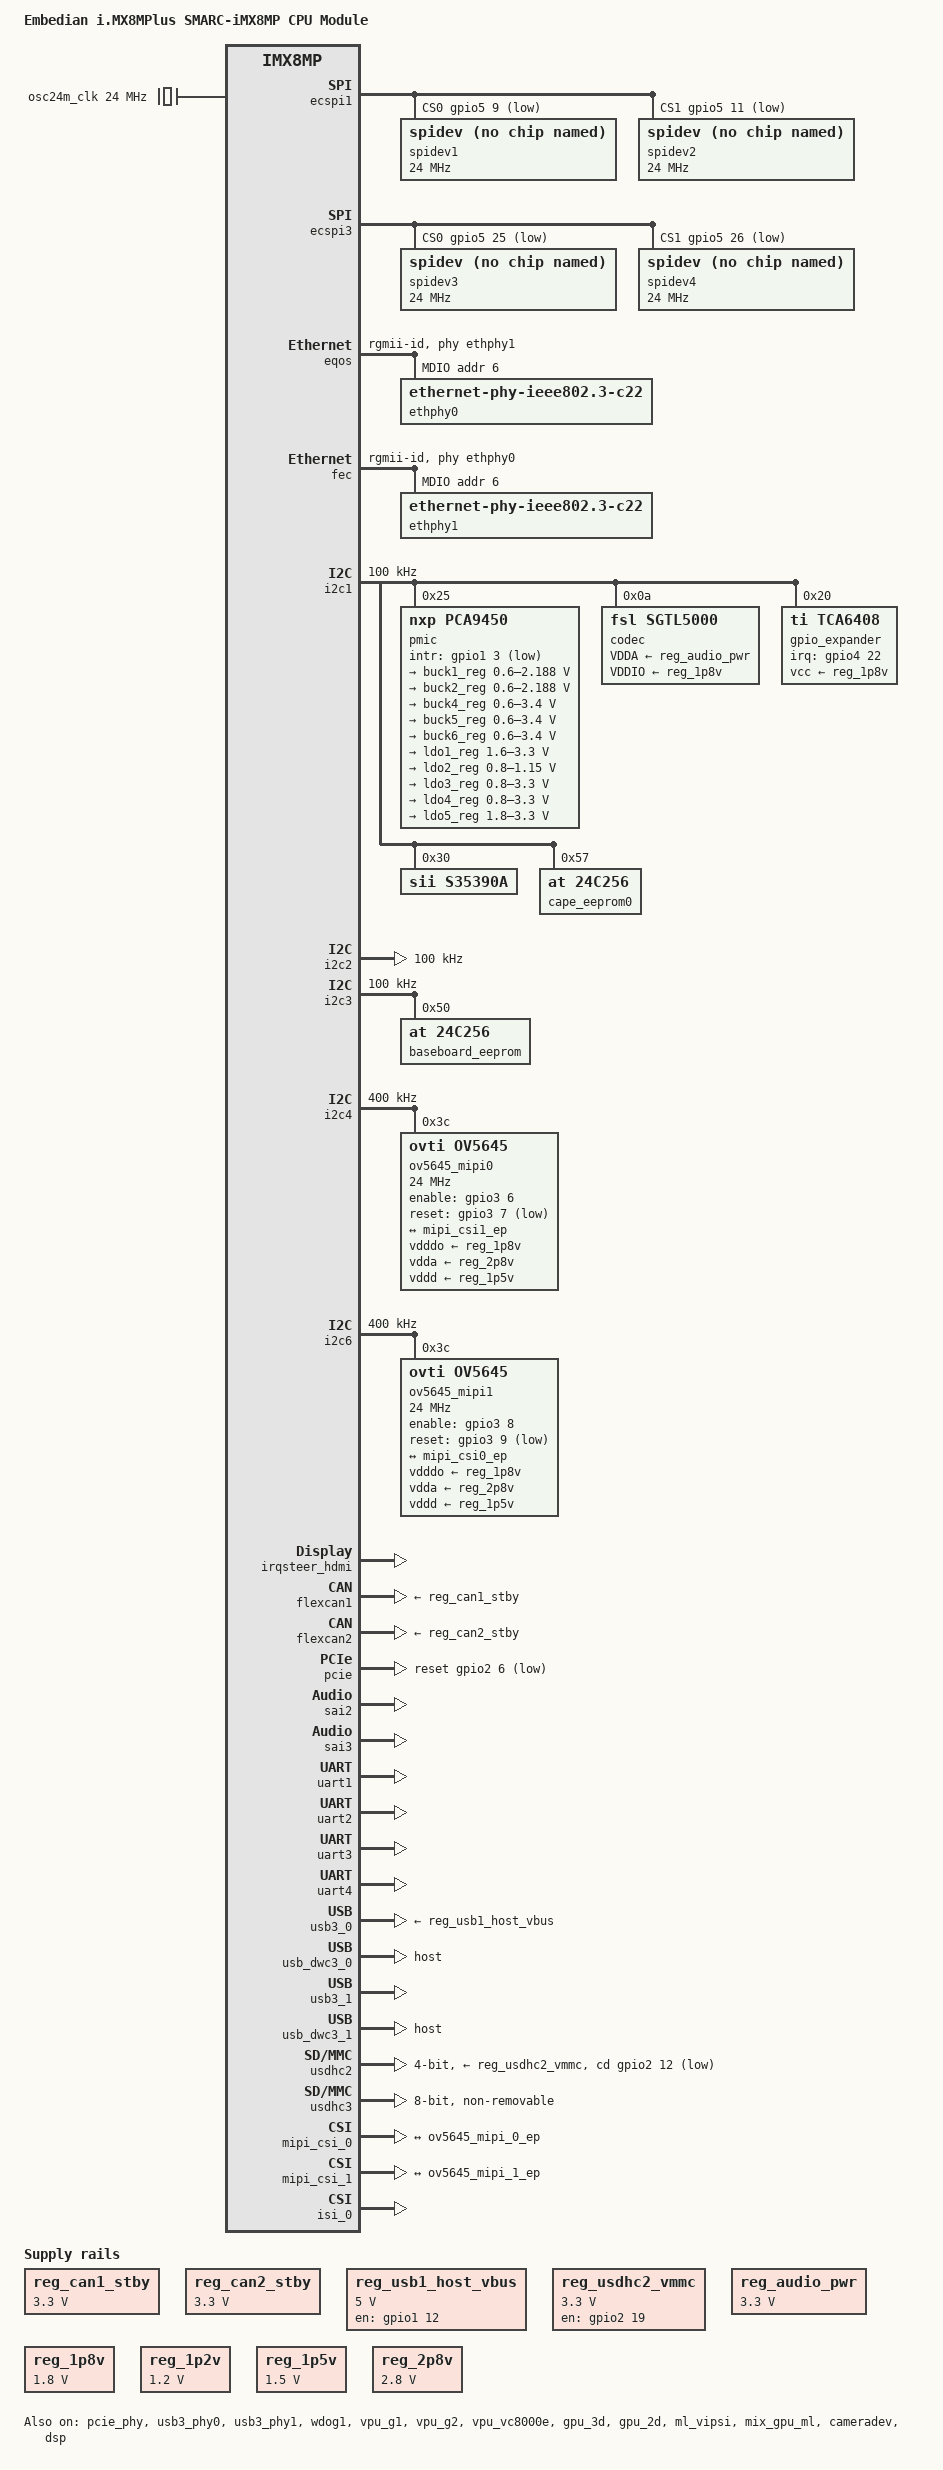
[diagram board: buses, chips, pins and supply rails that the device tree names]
// SPDX-License-Identifier: (GPL-2.0+ OR MIT)
/*
 * Copyright 2019 NXP
 * Copyright 2021 Embedian, Inc.
 */

/dts-v1/;

#include <dt-bindings/usb/pd.h>
#include "../freescale/imx8mp.dtsi"

/ {
	model = "Embedian i.MX8MPlus SMARC-iMX8MP CPU Module";
	compatible = "embedian,imx8mp-smarc", "fsl,imx8mp";

	reserved-memory {
		#address-cells = <2>;
		#size-cells = <2>;
		ranges;

		rpmsg_reserved: rpmsg@0x55800000 {
			no-map;
			reg = <0 0x55800000 0 0x800000>;
		};
	};

	aliases {
		rtc0 = &s35390a;
		rtc1 = &snvs_rtc;
	};

	reg_can1_stby: regulator-can1-stby {
		compatible = "regulator-fixed";
		regulator-name = "can1-stby";
		regulator-min-microvolt = <3300000>;
		regulator-max-microvolt = <3300000>;
	};

	reg_can2_stby: regulator-can2-stby {
		compatible = "regulator-fixed";
		regulator-name = "can2-stby";
		regulator-min-microvolt = <3300000>;
		regulator-max-microvolt = <3300000>;
	};

	reg_usb1_host_vbus: regulator-usb1-vbus {
		compatible = "regulator-fixed";
		regulator-name = "usb1_host_vbus";
		pinctrl-names = "default";
		pinctrl-0 = <&pinctrl_usb1_vbus>;
		regulator-min-microvolt = <5000000>;
		regulator-max-microvolt = <5000000>;
		gpio = <&gpio1 12 GPIO_ACTIVE_HIGH>;
		enable-active-high;
		regulator-always-on;
	};

	reg_usdhc2_vmmc: regulator-usdhc2 {
		compatible = "regulator-fixed";
		regulator-name = "VSD_3V3";
		regulator-min-microvolt = <3300000>;
		regulator-max-microvolt = <3300000>;
		gpio = <&gpio2 19 GPIO_ACTIVE_HIGH>;
		enable-active-high;
		startup-delay-us = <100>;
		off-on-delay-us = <12000>;
	};

	reg_audio_pwr: regulator-audio-pwr {
		compatible = "regulator-fixed";
		regulator-name = "sgtl5000-pwr";
		regulator-min-microvolt = <3300000>;
		regulator-max-microvolt = <3300000>;
		regulator-always-on;
	};

	reg_1p8v: 1p8v {
		compatible = "regulator-fixed";
		regulator-name = "1P8V";
		regulator-min-microvolt = <1800000>;
		regulator-max-microvolt = <1800000>;
		regulator-always-on;
	};

	reg_1p2v: 1p2v {
		compatible = "regulator-fixed";
		regulator-name = "1P2V";
		regulator-min-microvolt = <1200000>;
		regulator-max-microvolt = <1200000>;
		regulator-always-on;
	};

	reg_1p5v: 1p5v {
		compatible = "regulator-fixed";
		regulator-name = "1P5V";
		regulator-min-microvolt = <1500000>;
		regulator-max-microvolt = <1500000>;
		regulator-always-on;
	};

	reg_2p8v: 2p8v {
		compatible = "regulator-fixed";
		regulator-name = "2P8V";
		regulator-min-microvolt = <2800000>;
		regulator-max-microvolt = <2800000>;
		regulator-always-on;
	};

	osc24m_clk: osc24m_clk {
		compatible = "fixed-clock";
		#clock-cells = <0>;
		clock-frequency = <24000000>;
	};

	sound-hdmi {
		compatible = "fsl,imx-audio-cdnhdmi";
		model = "audio-hdmi";
		audio-cpu = <&aud2htx>;
		hdmi-out;
		constraint-rate = <44100>,
				<88200>,
				<176400>,
				<32000>,
				<48000>,
				<96000>,
				<192000>;
		status = "disabled";
	};

	sound-sgtl5000 {
		compatible = "simple-audio-card";
		simple-audio-card,name = "sgtl5000-audio";
		simple-audio-card,format = "i2s";
		simple-audio-card,widgets =
			"Microphone", "Microphone Jack",
			"Headphone", "Headphone Jack",
			"Speaker", "Speaker Ext",
			"Line", "Line In Jack";
		simple-audio-card,routing =
			"MIC_IN", "Microphone Jack",
			"Microphone Jack", "Mic Bias",
			"LINE_IN", "Line In Jack",
			"Headphone Jack", "HP_OUT",
			"Speaker Ext", "LINE_OUT";

		simple-audio-card,cpu {
			sound-dai = <&sai2>;
			frame-master;
			bitclock-master;
		};

		simple-audio-card,codec {
			sound-dai = <&codec>;
			frame-master;
			bitclock-master;
		};
	};
};

&aud2htx {
	status = "disabled";
};

&clk {
	init-on-array = <IMX8MP_CLK_HSIO_ROOT>;
};

&A53_0 {
	cpu-supply = <&buck2_reg>;
};

&pwm2 {
	pinctrl-names = "default";
	pinctrl-0 = <&pinctrl_pwm2>;
	status = "disabled";
};

&pwm4 {
	pinctrl-names = "default";
	pinctrl-0 = <&pinctrl_pwm4>;
	status = "disabled";
};

/* SPI0 */
&ecspi1 {
	#address-cells = <1>;
	#size-cells = <0>;
	fsl,spi-num-chipselects = <2>;
	pinctrl-names = "default";
	pinctrl-0 = <&pinctrl_ecspi1 &pinctrl_ecspi1_cs>;
	cs-gpios = <&gpio5 9 GPIO_ACTIVE_LOW>, <&gpio5 11 GPIO_ACTIVE_LOW>;
	status = "okay";

	spidev1: spidev@0 {
		reg = <0>;
		compatible = "rohm,dh2228fv";
		spi-max-frequency = <24000000>;
	};

	spidev2: spidev@1 {
		reg = <1>;
		compatible = "rohm,dh2228fv";
		spi-max-frequency = <24000000>;
	};
};

/* SPI1 */
&ecspi3 {
	#address-cells = <1>;
	#size-cells = <0>;
	fsl,spi-num-chipselects = <2>;
	pinctrl-names = "default";
	pinctrl-0 = <&pinctrl_ecspi3 &pinctrl_ecspi3_cs>;
	cs-gpios = <&gpio5 25 GPIO_ACTIVE_LOW>, <&gpio5 26 GPIO_ACTIVE_LOW>;
	status = "okay";

	spidev3: spidev@0 {
		reg = <0>;
		compatible = "rohm,dh2228fv";
		spi-max-frequency = <24000000>;
	};

	spidev4: spidev@1 {
		reg = <1>;
		compatible = "rohm,dh2228fv";
		spi-max-frequency = <24000000>;
	};
};

&eqos {
	pinctrl-names = "default";
	pinctrl-0 = <&pinctrl_eqos>;
	phy-mode = "rgmii-id";
	phy-handle = <&ethphy1>;
	status = "okay";

	mdio {
		compatible = "snps,dwmac-mdio";
		#address-cells = <1>;
		#size-cells = <0>;

		ethphy0: ethernet-phy@6 {
			compatible = "ethernet-phy-ieee802.3-c22";
			reg = <6>;
			eee-broken-1000t;
		};
	};
};

&fec {
	pinctrl-names = "default";
	pinctrl-0 = <&pinctrl_fec>;
	phy-mode = "rgmii-id";
	phy-handle = <&ethphy0>;
	fsl,magic-packet;
	status = "okay";

	mdio {
		#address-cells = <1>;
		#size-cells = <0>;

		ethphy1: ethernet-phy@6 {
			compatible = "ethernet-phy-ieee802.3-c22";
			reg = <6>;
			eee-broken-1000t;
		};
	};
};

/* I2C PM */
&i2c1 {
	clock-frequency = <100000>;
	pinctrl-names = "default";
	pinctrl-0 = <&pinctrl_i2c1>;
	status = "okay";

	pmic: pca9450@25 {
		reg = <0x25>;
		compatible = "nxp,pca9450";
		/* PMIC PCA9450 PMIC_nINT GPIO1_IO3 */
		pinctrl-0 = <&pinctrl_pmic>;
		gpio_intr = <&gpio1 3 GPIO_ACTIVE_LOW>;

		regulators {
			#address-cells = <1>;
			#size-cells = <0>;

			pca9450,pmic-buck2-uses-i2c-dvs;
			/* Run/Standby voltage */
			pca9450,pmic-buck2-dvs-voltage = <950000>, <850000>;

			buck1_reg: regulator@0 {
				reg = <0>;
				regulator-compatible = "buck1";
				regulator-min-microvolt = <600000>;
				regulator-max-microvolt = <2187500>;
				regulator-boot-on;
				regulator-always-on;
				regulator-ramp-delay = <3125>;
			};

			buck2_reg: regulator@1 {
				reg = <1>;
				regulator-compatible = "buck2";
				regulator-min-microvolt = <600000>;
				regulator-max-microvolt = <2187500>;
				regulator-boot-on;
				regulator-always-on;
				regulator-ramp-delay = <3125>;
			};

			buck4_reg: regulator@3 {
				reg = <3>;
				regulator-compatible = "buck4";
				regulator-min-microvolt = <600000>;
				regulator-max-microvolt = <3400000>;
				regulator-boot-on;
				regulator-always-on;
			};

			buck5_reg: regulator@4 {
				reg = <4>;
				regulator-compatible = "buck5";
				regulator-min-microvolt = <600000>;
				regulator-max-microvolt = <3400000>;
				regulator-boot-on;
				regulator-always-on;
			};

			buck6_reg: regulator@5 {
				reg = <5>;
				regulator-compatible = "buck6";
				regulator-min-microvolt = <600000>;
				regulator-max-microvolt = <3400000>;
				regulator-boot-on;
				regulator-always-on;
			};

			ldo1_reg: regulator@6 {
				reg = <6>;
				regulator-compatible = "ldo1";
				regulator-min-microvolt = <1600000>;
				regulator-max-microvolt = <3300000>;
				regulator-boot-on;
				regulator-always-on;
			};

			ldo2_reg: regulator@7 {
				reg = <7>;
				regulator-compatible = "ldo2";
				regulator-min-microvolt = <800000>;
				regulator-max-microvolt = <1150000>;
				regulator-boot-on;
				regulator-always-on;
			};

			ldo3_reg: regulator@8 {
				reg = <8>;
				regulator-compatible = "ldo3";
				regulator-min-microvolt = <800000>;
				regulator-max-microvolt = <3300000>;
				regulator-boot-on;
				regulator-always-on;
			};

			ldo4_reg: regulator@9 {
				reg = <9>;
				regulator-compatible = "ldo4";
				regulator-min-microvolt = <800000>;
				regulator-max-microvolt = <3300000>;
				regulator-boot-on;
				regulator-always-on;
			};

			ldo5_reg: regulator@10 {
				reg = <10>;
				regulator-compatible = "ldo5";
				regulator-min-microvolt = <1800000>;
				regulator-max-microvolt = <3300000>;
			};
		};
	};

	codec: sgtl5000@a {
		compatible = "fsl,sgtl5000";
		reg = <0x0a>;
		clocks = <&audiomix_clk IMX8MP_CLK_AUDIOMIX_SAI2_MCLK1>;		clock-names = "mclk";
		VDDA-supply = <&reg_audio_pwr>;
		VDDIO-supply = <&reg_1p8v>;
		#sound-dai-cells = <0>;
		status = "okay";
	};

	/*
	 * TCA6408 GPIO expander
	 *  0-LID#
	 *  1-SLEEP#
	 *  2-CHARGING#
	 *  3-BATLOW#
	 *  4-CHARGER_PRSNT#
	 *  5-
	 *  6-
	 *  7-
	*/
	gpio_expander: gpio-expander@20 {
		compatible = "ti,tca6408";
		reg = <0x20>;
		gpio-controller;
		vcc-supply = <&reg_1p8v>;
		#gpio-cells = <2>;
		interrupt-controller;
		#interrupt-cells = <2>;
		interrupt-parent = <&gpio4>;
		interrupts = <22 IRQ_TYPE_LEVEL_LOW>;

		lid_hog {
			gpio-hog;
			gpios = <0 GPIO_ACTIVE_LOW>;
			input;
			line-name = "lid";
		};
		sleep_hog {
			gpio-hog;
			gpios = <1 GPIO_ACTIVE_LOW>;
			input;
			line-name = "sleep";
		};
		charging_hog {
			gpio-hog;
			gpios = <2 GPIO_ACTIVE_LOW>;
			input;
			line-name = "charging";
		};
		batlow_hog {
			gpio-hog;
			gpios = <3 GPIO_ACTIVE_LOW>;
			input;
			line-name = "batlow";
		};
		charger_prsnt_hog {
			gpio-hog;
			gpios = <4 GPIO_ACTIVE_LOW>;
			input;
			line-name = "charger_prsnt";
		};
	};

	s35390a: s35390a@30 {
		compatible = "sii,s35390a";
		reg = <0x30>;
	};

	cape_eeprom0: cape_eeprom@57 {
		compatible = "at,24c256";
		reg = <0x57>;
	};
};

/* I2C_LCD */
&i2c2 {
	clock-frequency = <100000>;
	pinctrl-names = "default";
	pinctrl-0 = <&pinctrl_i2c2>;
	status = "okay";

};

/* I2C_GP */
&i2c3 {
	clock-frequency = <100000>;
	pinctrl-names = "default";
	pinctrl-0 = <&pinctrl_i2c3>;
	status = "okay";

	baseboard_eeprom: baseboard_eeprom@50 {
		compatible = "at,24c256";
		reg = <0x50>;
	};
};

&i2c4 {
	clock-frequency = <400000>;
	pinctrl-names = "default";
	pinctrl-0 = <&pinctrl_i2c4>;
	status = "okay";

	ov5645_mipi0: ov5645_mipi@3c {
		compatible = "ovti,ov5645";
		reg = <0x3c>;
		clock-names = "xclk";
/* Disabled CLKO1, since SMARC-iMX8MP camera moduleion board uses
 * its own oscillator. Enable CLK01 if your desing requres it
 */
		/*pinctrl-names = "default";
		pinctrl-0 = <&pinctrl_csi_mclk>;
		clocks = <&clk IMX8MP_CLK_IPP_DO_CLKO2>;
		assigned-clocks = <&clk IMX8MP_CLK_IPP_DO_CLKO2>;
		assigned-clock-parents = <&clk IMX8MP_CLK_24M>;
		assigned-clock-rates = <24000000>;*/
                clocks = <&osc24m_clk>;
		clock-frequency = <24000000>;
                vdddo-supply = <&reg_1p8v>;
                vdda-supply = <&reg_2p8v>;
                vddd-supply = <&reg_1p5v>;
		csi_id = <1>;
		enable-gpios = <&gpio3 6 GPIO_ACTIVE_HIGH>;	/* GPIO0 */
		reset-gpios = <&gpio3 7 GPIO_ACTIVE_LOW>;	/* GPIO1 */
		status = "okay";

		port {
			ov5645_mipi_1_ep: endpoint {
				remote-endpoint = <&mipi_csi1_ep>;
				data-lanes = <1 2>;
				clock-lanes = <0>;
			};
		};
	};
};

&i2c6 {
	clock-frequency = <400000>;
	pinctrl-names = "default";
	pinctrl-0 = <&pinctrl_i2c6>;
	status = "okay";

	ov5645_mipi1: ov5645_mipi@3c {
		compatible = "ovti,ov5645";
		reg = <0x3c>;
		clock-names = "xclk";
/* Disabled CLKO1, since SMARC-iMX8MP camera moduleion board uses
 * its own oscillator. Enable CLK01 if your desing requres it
 */
		/*pinctrl-names = "default";
		pinctrl-0 = <&pinctrl_csi_mclk>;
		clocks = <&clk IMX8MP_CLK_IPP_DO_CLKO2>;
		assigned-clocks = <&clk IMX8MP_CLK_IPP_DO_CLKO2>;
		assigned-clock-parents = <&clk IMX8MP_CLK_24M>;
		assigned-clock-rates = <24000000>;*/
		clocks = <&osc24m_clk>;
		clock-frequency = <24000000>;
		vdddo-supply = <&reg_1p8v>;
		vdda-supply = <&reg_2p8v>;
		vddd-supply = <&reg_1p5v>;
		csi_id = <0>;
		enable-gpios = <&gpio3 8 GPIO_ACTIVE_HIGH>;	/* GPIO2 */
		reset-gpios = <&gpio3 9 GPIO_ACTIVE_LOW>;	/* GPIO3 */
		status = "okay";

		port {
			ov5645_mipi_0_ep: endpoint {
				remote-endpoint = <&mipi_csi0_ep>;
				data-lanes = <1 2 3 4>;
				clock-lanes = <0>;
			};
		};
	};
};

&irqsteer_hdmi {
	status = "okay";
};

&flexcan1 {
	pinctrl-names = "default";
	pinctrl-0 = <&pinctrl_flexcan1>;
	xceiver-supply = <&reg_can1_stby>;
	status = "okay";
};

&flexcan2 {
	pinctrl-names = "default";
	pinctrl-0 = <&pinctrl_flexcan2>;
	xceiver-supply = <&reg_can2_stby>;
	status = "okay";
};

&hdmimix_clk {
	status = "disabled";
};

&hdmimix_reset {
	status = "disabled";
};

&hdmi_pavi {
	status = "disabled";
};

&hdmi {
	status = "disabled";
};

&hdmiphy {
	status = "disabled";
};

/* MIPI-DSI */
&lcdif1 {
	status = "disabled";
};

/* LVDS */
&lcdif2 {
	status = "disabled";
};

&lcdif3 {
	status = "disabled";

	thres-low  = <1 2>;             /* (FIFO * 1 / 2) */
	thres-high = <3 4>;             /* (FIFO * 3 / 4) */
};

&ldb {
	status = "disabled";

};

&ldb_phy {
	status = "disabled";
};

&mipi_dsi {
	status = "disabled";
};

&pcie{
	pinctrl-names = "default";
	pinctrl-0 = <&pinctrl_pcie>;
	reset-gpio = <&gpio2 6 GPIO_ACTIVE_LOW>;
	ext_osc = <1>;
	clocks = <&clk IMX8MP_CLK_HSIO_AXI_DIV>,
		 <&clk IMX8MP_CLK_PCIE_AUX>,
		 <&clk IMX8MP_CLK_PCIE_PHY>,
		 <&clk IMX8MP_CLK_PCIE_ROOT>;
	clock-names = "pcie", "pcie_aux", "pcie_phy", "pcie_bus";
	assigned-clocks = <&clk IMX8MP_CLK_HSIO_AXI_SRC>,
			  <&clk IMX8MP_CLK_PCIE_AUX>;
	assigned-clock-parents = <&clk IMX8MP_SYS_PLL2_500M>,
				 <&clk IMX8MP_SYS_PLL2_50M>;
	status = "okay";
};

&pcie_ep{
	pinctrl-names = "default";
	pinctrl-0 = <&pinctrl_pcie>;
	ext_osc = <1>;
	clocks = <&clk IMX8MP_CLK_HSIO_AXI_DIV>,
		 <&clk IMX8MP_CLK_PCIE_AUX>,
		 <&clk IMX8MP_CLK_PCIE_PHY>,
		 <&clk IMX8MP_CLK_PCIE_ROOT>;
	clock-names = "pcie", "pcie_aux", "pcie_phy", "pcie_bus";
	assigned-clocks = <&clk IMX8MP_CLK_HSIO_AXI_SRC>,
			  <&clk IMX8MP_CLK_PCIE_AUX>;
	assigned-clock-parents = <&clk IMX8MP_SYS_PLL2_500M>,
				 <&clk IMX8MP_SYS_PLL2_50M>;
	status = "disabled";
};

&pcie_phy{
	ext_osc = <1>;
	status = "okay";
};

&sai2 {
	#sound-dai-cells = <0>;
	pinctrl-names = "default";
	pinctrl-0 = <&pinctrl_sai2>;
	assigned-clocks = <&clk IMX8MP_CLK_SAI2>;
	assigned-clock-parents = <&clk IMX8MP_AUDIO_PLL1_OUT>;
	assigned-clock-rates = <24576000>;
	status = "okay";
};

&sai3 {
	pinctrl-names = "default";
	pinctrl-0 = <&pinctrl_sai3>;
	assigned-clocks = <&clk IMX8MP_CLK_SAI3>;
	assigned-clock-parents = <&clk IMX8MP_AUDIO_PLL1_OUT>;
	assigned-clock-rates = <24576000>;
	clocks = <&audiomix_clk IMX8MP_CLK_AUDIOMIX_SAI3_IPG>, <&clk IMX8MP_CLK_DUMMY>,
		 <&audiomix_clk IMX8MP_CLK_AUDIOMIX_SAI3_MCLK1>, <&clk IMX8MP_CLK_DUMMY>,
		 <&clk IMX8MP_CLK_DUMMY>;
	clock-names = "bus", "mclk0", "mclk1", "mclk2", "mclk3";
	fsl,sai-mclk-direction-output;
	status = "okay";
};

&sdma2 {
	status = "okay";
};

&uart1 { /* SER0 */
	pinctrl-names = "default";
	pinctrl-0 = <&pinctrl_uart1>;
	assigned-clocks = <&clk IMX8MP_CLK_UART1>;
	assigned-clock-parents = <&clk IMX8MP_SYS_PLL1_80M>;
	fsl,uart-has-rtscts;
	status = "okay";
};

&uart2 {
	/* console */
	pinctrl-names = "default";
	pinctrl-0 = <&pinctrl_uart2>;
	status = "okay";
};

&uart3 {
	/* SER2 */
	pinctrl-names = "default";
	pinctrl-0 = <&pinctrl_uart3>;
	assigned-clocks = <&clk IMX8MP_CLK_UART3>;
	assigned-clock-parents = <&clk IMX8MP_SYS_PLL1_80M>;
	fsl,uart-has-rtscts;
	status = "okay";
};

&uart4 {
	/* SER1 */
	pinctrl-names = "default";
	pinctrl-0 = <&pinctrl_uart4>;
	status = "okay";
};

&usb3_phy0 {
	fsl,phy-tx-vref-tune = <6>;
	fsl,phy-tx-rise-tune = <0>;
	fsl,phy-tx-preemp-amp-tune = <3>;
	fsl,phy-comp-dis-tune = <7>;
	fsl,pcs-tx-deemph-3p5db = <0x21>;
	fsl,phy-pcs-tx-swing-full = <0x7f>;
	status = "okay";
};

&usb3_0 {
	pinctrl-names = "default";
	pinctrl-0 = <&pinctrl_usbotg1>;
	vbus-supply = <&reg_usb1_host_vbus>;
	status = "okay";
};

&usb_dwc3_0 {
	dr_mode = "host";
	hnp-disable;
	srp-disable;
	adp-disable;
	usb-role-switch;
	status = "okay";
};

&usb3_phy1 {
	fsl,phy-tx-preemp-amp-tune = <2>;
	status = "okay";
};

&usb3_1 {
	status = "okay";
};

&usb_dwc3_1 {
	dr_mode = "host";
	status = "okay";
};

&usdhc2 {
	pinctrl-names = "default", "state_100mhz", "state_200mhz";
	pinctrl-0 = <&pinctrl_usdhc2>, <&pinctrl_usdhc2_gpio>;
	pinctrl-1 = <&pinctrl_usdhc2_100mhz>, <&pinctrl_usdhc2_gpio>;
	pinctrl-2 = <&pinctrl_usdhc2_200mhz>, <&pinctrl_usdhc2_gpio>;
	cd-gpios = <&gpio2 12 GPIO_ACTIVE_LOW>;
	vmmc-supply = <&reg_usdhc2_vmmc>;
	bus-width = <4>;
	status = "okay";
};

&usdhc3 {
	pinctrl-names = "default", "state_100mhz", "state_200mhz";
	pinctrl-0 = <&pinctrl_usdhc3>;
	pinctrl-1 = <&pinctrl_usdhc3_100mhz>;
	pinctrl-2 = <&pinctrl_usdhc3_200mhz>;
	bus-width = <8>;
	non-removable;
	status = "okay";
};

&wdog1 {
	pinctrl-names = "default";
	pinctrl-0 = <&pinctrl_wdog>;
	fsl,ext-reset-output;
	status = "okay";
};

&iomuxc {
	pinctrl-names = "default";
	pinctrl-0 = <&pinctrl_hog>;

	pinctrl_hog: hoggrp {
		fsl,pins = <
			MX8MP_IOMUXC_HDMI_DDC_SCL__HDMIMIX_HDMI_SCL	0x400001c3
			MX8MP_IOMUXC_HDMI_DDC_SDA__HDMIMIX_HDMI_SDA	0x400001c3
			MX8MP_IOMUXC_HDMI_HPD__HDMIMIX_HDMI_HPD		0x40000019
			MX8MP_IOMUXC_HDMI_CEC__HDMIMIX_HDMI_CEC		0x40000019
			MX8MP_IOMUXC_SAI3_RXFS__GPIO4_IO28		0x19	/* RESET_OUT# */
			MX8MP_IOMUXC_GPIO1_IO00__GPIO1_IO00		0x19	/* LCD0_BKLT_EN */
			MX8MP_IOMUXC_ECSPI2_SCLK__GPIO5_IO10		0x19	/* LCD1_BKLT_EN */
			MX8MP_IOMUXC_GPIO1_IO01__GPIO1_IO01		0x19	/* LCD0_VDD_EN */
			MX8MP_IOMUXC_GPIO1_IO11__GPIO1_IO11		0x19	/* LCD1_VDD_EN */
			MX8MP_IOMUXC_NAND_DATA00__GPIO3_IO06		0x19	/* GPIO0 */
			MX8MP_IOMUXC_NAND_DATA01__GPIO3_IO07		0x19	/* GPIO1 */
			MX8MP_IOMUXC_NAND_DATA02__GPIO3_IO08		0x19	/* GPIO2 */
			MX8MP_IOMUXC_NAND_DATA03__GPIO3_IO09		0x19	/* GPIO3 */
			MX8MP_IOMUXC_GPIO1_IO15__GPIO1_IO15		0x19	/* GPIO4 */
			MX8MP_IOMUXC_I2C4_SDA__GPIO5_IO21		0x19	/* GPIO5 */
			MX8MP_IOMUXC_SAI3_TXC__GPIO5_IO00		0x41	/* GPIO6 */
			MX8MP_IOMUXC_SAI3_TXD__GPIO5_IO01		0x41	/* GPIO7 */
			MX8MP_IOMUXC_SAI3_RXC__GPIO4_IO29		0x41	/* GPIO8 */
			MX8MP_IOMUXC_SPDIF_TX__GPIO5_IO03		0x41	/* GPIO9 */
			MX8MP_IOMUXC_SPDIF_RX__GPIO5_IO04		0x41	/* GPIO10 */
			MX8MP_IOMUXC_SPDIF_EXT_CLK__GPIO5_IO05		0x41	/* GPIO11 */
		>;
	};

	pinctrl_pwm1: pwm1grp {
		fsl,pins = <
			MX8MP_IOMUXC_GPIO1_IO01__PWM1_OUT	0x116
		>;
	};

	pinctrl_pwm2: pwm2grp {
		fsl,pins = <
			MX8MP_IOMUXC_SAI5_RXD0__PWM2_OUT	0x116
		>;
	};

	pinctrl_pwm4: pwm4grp {
		fsl,pins = <
			MX8MP_IOMUXC_SAI3_MCLK__PWM4_OUT	0x116
		>;
	};

	pinctrl_ecspi1: ecspi1grp {
		fsl,pins = <
			MX8MP_IOMUXC_ECSPI1_SCLK__ECSPI1_SCLK	0x82
			MX8MP_IOMUXC_ECSPI1_MOSI__ECSPI1_MOSI	0x82
			MX8MP_IOMUXC_ECSPI1_MISO__ECSPI1_MISO	0x82
		>;
	};

	pinctrl_ecspi1_cs: ecspi1cs {
		fsl,pins = <
			MX8MP_IOMUXC_ECSPI1_SS0__GPIO5_IO09	0x40000
			MX8MP_IOMUXC_ECSPI2_MOSI__GPIO5_IO11	0x40000
		>;
	};

	pinctrl_ecspi2: ecspi2grp {
		fsl,pins = <
			MX8MP_IOMUXC_ECSPI2_SCLK__ECSPI2_SCLK		0x82
			MX8MP_IOMUXC_ECSPI2_MOSI__ECSPI2_MOSI		0x82
			MX8MP_IOMUXC_ECSPI2_MISO__ECSPI2_MISO		0x82
		>;
	};

	pinctrl_ecspi2_cs: ecspi2cs {
		fsl,pins = <
			MX8MP_IOMUXC_ECSPI2_SS0__GPIO5_IO13		0x40000
		>;
	};

	pinctrl_ecspi3: ecspi3grp {
		fsl,pins = <
			MX8MP_IOMUXC_UART1_RXD__ECSPI3_SCLK	0x82
			MX8MP_IOMUXC_UART1_TXD__ECSPI3_MOSI	0x82
			MX8MP_IOMUXC_UART2_RXD__ECSPI3_MISO	0x82
		>;
	};

	pinctrl_ecspi3_cs: ecspi3cs {
		fsl,pins = <
			MX8MP_IOMUXC_UART2_TXD__GPIO5_IO25	0x40000
			MX8MP_IOMUXC_UART3_RXD__GPIO5_IO26	0x40000
		>;
	};

	pinctrl_eqos: eqosgrp {
		fsl,pins = <
			MX8MP_IOMUXC_ENET_MDC__ENET_QOS_MDC	0x3
			MX8MP_IOMUXC_ENET_MDIO__ENET_QOS_MDIO	0x3
			MX8MP_IOMUXC_ENET_RD0__ENET_QOS_RGMII_RD0	0x91
			MX8MP_IOMUXC_ENET_RD1__ENET_QOS_RGMII_RD1	0x91
			MX8MP_IOMUXC_ENET_RD2__ENET_QOS_RGMII_RD2	0x91
			MX8MP_IOMUXC_ENET_RD3__ENET_QOS_RGMII_RD3	0x91
			MX8MP_IOMUXC_ENET_RXC__CCM_ENET_QOS_CLOCK_GENERATE_RX_CLK	0x91
			MX8MP_IOMUXC_ENET_RX_CTL__ENET_QOS_RGMII_RX_CTL	0x91
			MX8MP_IOMUXC_ENET_TD0__ENET_QOS_RGMII_TD0		0x1f
			MX8MP_IOMUXC_ENET_TD1__ENET_QOS_RGMII_TD1		0x1f
			MX8MP_IOMUXC_ENET_TD2__ENET_QOS_RGMII_TD2		0x1f
			MX8MP_IOMUXC_ENET_TD3__ENET_QOS_RGMII_TD3		0x1f
			MX8MP_IOMUXC_ENET_TX_CTL__ENET_QOS_RGMII_TX_CTL	0x1f
			MX8MP_IOMUXC_ENET_TXC__CCM_ENET_QOS_CLOCK_GENERATE_TX_CLK	0x1f
			MX8MP_IOMUXC_SAI2_RXFS__GPIO4_IO21		0x42
		>;
	};

	pinctrl_fec: fecgrp {
		fsl,pins = <
			MX8MP_IOMUXC_SAI1_RXD2__ENET1_MDC		0x3
			MX8MP_IOMUXC_SAI1_RXD3__ENET1_MDIO		0x3
			MX8MP_IOMUXC_SAI1_RXD4__ENET1_RGMII_RD0		0x91
			MX8MP_IOMUXC_SAI1_RXD5__ENET1_RGMII_RD1		0x91
			MX8MP_IOMUXC_SAI1_RXD6__ENET1_RGMII_RD2		0x91
			MX8MP_IOMUXC_SAI1_RXD7__ENET1_RGMII_RD3		0x91
			MX8MP_IOMUXC_SAI1_TXC__ENET1_RGMII_RXC		0x91
			MX8MP_IOMUXC_SAI1_TXFS__ENET1_RGMII_RX_CTL	0x91
			MX8MP_IOMUXC_SAI1_TXD0__ENET1_RGMII_TD0		0x1f
			MX8MP_IOMUXC_SAI1_TXD1__ENET1_RGMII_TD1		0x1f
			MX8MP_IOMUXC_SAI1_TXD2__ENET1_RGMII_TD2		0x1f
			MX8MP_IOMUXC_SAI1_TXD3__ENET1_RGMII_TD3		0x1f
			MX8MP_IOMUXC_SAI1_TXD4__ENET1_RGMII_TX_CTL	0x1f
			MX8MP_IOMUXC_SAI1_TXD5__ENET1_RGMII_TXC		0x1f
			MX8MP_IOMUXC_SAI1_RXD1__GPIO4_IO03		0x42
		>;
	};

	pinctrl_flexcan1: flexcan1grp {
		fsl,pins = <
			MX8MP_IOMUXC_SAI5_RXD2__CAN1_RX          0x154
			MX8MP_IOMUXC_SAI5_RXD1__CAN1_TX          0x154
		>;
	};

	pinctrl_flexcan2: flexcan2grp {
		fsl,pins = <
			MX8MP_IOMUXC_SAI5_MCLK__CAN2_RX		0x154
			MX8MP_IOMUXC_SAI5_RXD3__CAN2_TX		0x154
		>;
	};

	pinctrl_flexcan1_reg: flexcan1reggrp {
		fsl,pins = <
			MX8MP_IOMUXC_SPDIF_EXT_CLK__GPIO5_IO05	0x154	/* CAN1_STBY */
		>;
	};

	pinctrl_flexcan2_reg: flexcan2reggrp {
		fsl,pins = <
			MX8MP_IOMUXC_SAI2_MCLK__GPIO4_IO27	0x154	/* CAN2_STBY */
		>;
	};

	pinctrl_flexspi0: flexspi0grp {
		fsl,pins = <
			MX8MP_IOMUXC_NAND_ALE__FLEXSPI_A_SCLK		0x1c2
			MX8MP_IOMUXC_NAND_CE0_B__FLEXSPI_A_SS0_B	0x82
			MX8MP_IOMUXC_NAND_DATA00__FLEXSPI_A_DATA00	0x82
			MX8MP_IOMUXC_NAND_DATA01__FLEXSPI_A_DATA01	0x82
			MX8MP_IOMUXC_NAND_DATA02__FLEXSPI_A_DATA02	0x82
			MX8MP_IOMUXC_NAND_DATA03__FLEXSPI_A_DATA03	0x82
		>;
	};

	pinctrl_gpio_led: gpioledgrp {
		fsl,pins = <
			MX8MP_IOMUXC_NAND_READY_B__GPIO3_IO16	0x19
		>;
	};

	pinctrl_i2c1: i2c1grp {
		fsl,pins = <
			MX8MP_IOMUXC_I2C1_SCL__I2C1_SCL		0x400001c3
			MX8MP_IOMUXC_I2C1_SDA__I2C1_SDA		0x400001c3
		>;
	};

	pinctrl_i2c2: i2c2grp {
		fsl,pins = <
			MX8MP_IOMUXC_I2C2_SCL__I2C2_SCL			0x400001c3
			MX8MP_IOMUXC_I2C2_SDA__I2C2_SDA			0x400001c3
		>;
	};

	pinctrl_i2c3: i2c3grp {
		fsl,pins = <
			MX8MP_IOMUXC_I2C3_SCL__I2C3_SCL			0x400001c3
			MX8MP_IOMUXC_I2C3_SDA__I2C3_SDA			0x400001c3
		>;
	};

	pinctrl_i2c4: i2c4grp {
		fsl,pins = <
			MX8MP_IOMUXC_ECSPI2_MISO__I2C4_SCL	0x400001c3
			MX8MP_IOMUXC_ECSPI2_SS0__I2C4_SDA	0x400001c3
		>;
	};

	pinctrl_i2c6: i2c6grp {
		fsl,pins = <
			MX8MP_IOMUXC_SAI5_RXFS__I2C6_SCL	0x400001c3
			MX8MP_IOMUXC_SAI5_RXC__I2C6_SDA		0x400001c3
		>;
	};

	pinctrl_mipi_dsi_en: mipi_dsi_en {
		fsl,pins = <
			MX8MP_IOMUXC_GPIO1_IO08__GPIO1_IO08	0x16
		>;
	};

	pinctrl_pcie: pciegrp {
		fsl,pins = <
			MX8MP_IOMUXC_I2C4_SCL__PCIE_CLKREQ_B		0x61 /* open drain, pull up */
			MX8MP_IOMUXC_SD1_DATA4__GPIO2_IO06		0x41
			MX8MP_IOMUXC_SD1_DATA5__GPIO2_IO07		0x41
		>;
	};

	pinctrl_pmic: pmicirq {
		fsl,pins = <
			MX8MP_IOMUXC_GPIO1_IO03__GPIO1_IO03	0x41
		>;
	};

	pinctrl_typec: typec1grp {
		fsl,pins = <
			MX8MP_IOMUXC_SAI1_TXD7__GPIO4_IO19	0x1c4
		>;
	};

	pinctrl_typec_mux: typec1muxgrp {
		fsl,pins = <
			MX8MP_IOMUXC_SAI1_MCLK__GPIO4_IO20	0x16
		>;
	};

	pinctrl_pdm: pdmgrp {
		fsl,pins = <
			MX8MP_IOMUXC_SAI5_RXC__AUDIOMIX_PDM_CLK			0xd6
			MX8MP_IOMUXC_SAI5_RXD0__AUDIOMIX_PDM_BIT_STREAM00	0xd6
			MX8MP_IOMUXC_SAI5_RXD1__AUDIOMIX_PDM_BIT_STREAM01	0xd6
			MX8MP_IOMUXC_SAI5_RXD2__AUDIOMIX_PDM_BIT_STREAM02	0xd6
			MX8MP_IOMUXC_SAI5_RXD3__AUDIOMIX_PDM_BIT_STREAM03	0xd6
		>;
	};

	pinctrl_sai2: sai2grp {
		fsl,pins = <
			MX8MP_IOMUXC_SAI2_TXC__AUDIOMIX_SAI2_TX_BCLK	0xd6
			MX8MP_IOMUXC_SAI2_TXFS__AUDIOMIX_SAI2_TX_SYNC	0xd6
			MX8MP_IOMUXC_SAI2_TXD0__AUDIOMIX_SAI2_TX_DATA00	0xd6
			MX8MP_IOMUXC_SAI2_RXD0__AUDIOMIX_SAI2_RX_DATA00	0xd6
			MX8MP_IOMUXC_SAI2_MCLK__AUDIOMIX_SAI2_MCLK	0xd6
		>;
	};

	pinctrl_sai3: sai3grp {
		fsl,pins = <
			MX8MP_IOMUXC_SAI3_TXFS__AUDIOMIX_SAI3_TX_SYNC		0xd6
			MX8MP_IOMUXC_NAND_ALE__AUDIOMIX_SAI3_TX_BCLK		0xd6
			MX8MP_IOMUXC_SAI3_RXD__AUDIOMIX_SAI3_RX_DATA00		0xd6
			MX8MP_IOMUXC_NAND_CE0_B__AUDIOMIX_SAI3_TX_DATA00	0xd6
		>;
	};

	pinctrl_i2c2_synaptics_dsx_io: synaptics_dsx_iogrp {
		fsl,pins = <
			MX8MP_IOMUXC_GPIO1_IO09__GPIO1_IO09		0x16
		>;
	};

	pinctrl_uart1: uart1grp {
		fsl,pins = <
			MX8MP_IOMUXC_SD1_CMD__UART1_DCE_RX	0x140
			MX8MP_IOMUXC_SD1_CLK__UART1_DCE_TX	0x140
			MX8MP_IOMUXC_SD1_DATA1__UART1_DCE_CTS	0x140
			MX8MP_IOMUXC_SD1_DATA0__UART1_DCE_RTS	0x140
		>;
	};

	pinctrl_uart2: uart2grp {
		fsl,pins = <
			MX8MP_IOMUXC_SD1_DATA3__UART2_DCE_RX	0x49
			MX8MP_IOMUXC_SD1_DATA2__UART2_DCE_TX	0x49
		>;
	};

	pinctrl_uart3: uart3grp {
		fsl,pins = <
			MX8MP_IOMUXC_SD1_DATA7__UART3_DCE_RX	0x140
			MX8MP_IOMUXC_SD1_DATA6__UART3_DCE_TX	0x140
			MX8MP_IOMUXC_SD1_STROBE__UART3_DCE_CTS	0x140
			MX8MP_IOMUXC_SD1_RESET_B__UART3_DTE_CTS	0x140
		>;
	};

	pinctrl_uart4: uart4grp {
		fsl,pins = <
			MX8MP_IOMUXC_UART4_RXD__UART4_DCE_RX    0x49
			MX8MP_IOMUXC_UART4_TXD__UART4_DCE_TX    0x49
		>;
	};

	pinctrl_usb1_vbus: usb1grp {
		fsl,pins = <
			MX8MP_IOMUXC_GPIO1_IO12__GPIO1_IO12	0x19	/* USB1_EN */
		>;
	};

        pinctrl_usbotg1: usbotg1 {
                fsl,pins = <
                        MX8MP_IOMUXC_GPIO1_IO10__USB1_ID	0x41	/* USB1_ID */
			MX8MP_IOMUXC_GPIO1_IO13__GPIO1_IO13	0x41	/* USB1_OC# */
		>;
	};

	pinctrl_usdhc1: usdhc1grp {
		fsl,pins = <
			MX8MP_IOMUXC_SD1_CLK__USDHC1_CLK	0x190
			MX8MP_IOMUXC_SD1_CMD__USDHC1_CMD	0x1d0
			MX8MP_IOMUXC_SD1_DATA0__USDHC1_DATA0	0x1d0
			MX8MP_IOMUXC_SD1_DATA1__USDHC1_DATA1	0x1d0
			MX8MP_IOMUXC_SD1_DATA2__USDHC1_DATA2	0x1d0
			MX8MP_IOMUXC_SD1_DATA3__USDHC1_DATA3	0x1d0
		>;
	};

	pinctrl_usdhc1_100mhz: usdhc1grp-100mhz {
		fsl,pins = <
			MX8MP_IOMUXC_SD1_CLK__USDHC1_CLK	0x194
			MX8MP_IOMUXC_SD1_CMD__USDHC1_CMD	0x1d4
			MX8MP_IOMUXC_SD1_DATA0__USDHC1_DATA0	0x1d4
			MX8MP_IOMUXC_SD1_DATA1__USDHC1_DATA1	0x1d4
			MX8MP_IOMUXC_SD1_DATA2__USDHC1_DATA2	0x1d4
			MX8MP_IOMUXC_SD1_DATA3__USDHC1_DATA3	0x1d4
		>;
	};

	pinctrl_usdhc1_200mhz: usdhc1grp-200mhz {
		fsl,pins = <
			MX8MP_IOMUXC_SD1_CLK__USDHC1_CLK	0x196
			MX8MP_IOMUXC_SD1_CMD__USDHC1_CMD	0x1d6
			MX8MP_IOMUXC_SD1_DATA0__USDHC1_DATA0	0x1d6
			MX8MP_IOMUXC_SD1_DATA1__USDHC1_DATA1	0x1d6
			MX8MP_IOMUXC_SD1_DATA2__USDHC1_DATA2	0x1d6
			MX8MP_IOMUXC_SD1_DATA3__USDHC1_DATA3	0x1d6
		>;
	};

	pinctrl_usdhc2_gpio: usdhc2grp-gpio {
		fsl,pins = <
			MX8MP_IOMUXC_SD2_CD_B__GPIO2_IO12 	0x1c4
			MX8MP_IOMUXC_SD2_RESET_B__GPIO2_IO19	0x41
		>;
	};

	pinctrl_usdhc2: usdhc2grp {
		fsl,pins = <
			MX8MP_IOMUXC_SD2_CLK__USDHC2_CLK	0x190
			MX8MP_IOMUXC_SD2_CMD__USDHC2_CMD	0x1d0
			MX8MP_IOMUXC_SD2_DATA0__USDHC2_DATA0	0x1d0
			MX8MP_IOMUXC_SD2_DATA1__USDHC2_DATA1	0x1d0
			MX8MP_IOMUXC_SD2_DATA2__USDHC2_DATA2	0x1d0
			MX8MP_IOMUXC_SD2_DATA3__USDHC2_DATA3	0x1d0
			MX8MP_IOMUXC_GPIO1_IO04__USDHC2_VSELECT	0xc1
		>;
	};

	pinctrl_usdhc2_100mhz: usdhc2grp-100mhz {
		fsl,pins = <
			MX8MP_IOMUXC_SD2_CLK__USDHC2_CLK	0x194
			MX8MP_IOMUXC_SD2_CMD__USDHC2_CMD	0x1d4
			MX8MP_IOMUXC_SD2_DATA0__USDHC2_DATA0	0x1d4
			MX8MP_IOMUXC_SD2_DATA1__USDHC2_DATA1	0x1d4
			MX8MP_IOMUXC_SD2_DATA2__USDHC2_DATA2	0x1d4
			MX8MP_IOMUXC_SD2_DATA3__USDHC2_DATA3	0x1d4
			MX8MP_IOMUXC_GPIO1_IO04__USDHC2_VSELECT 0xc1
		>;
	};

	pinctrl_usdhc2_200mhz: usdhc2grp-200mhz {
		fsl,pins = <
			MX8MP_IOMUXC_SD2_CLK__USDHC2_CLK	0x196
			MX8MP_IOMUXC_SD2_CMD__USDHC2_CMD	0x1d6
			MX8MP_IOMUXC_SD2_DATA0__USDHC2_DATA0	0x1d6
			MX8MP_IOMUXC_SD2_DATA1__USDHC2_DATA1	0x1d6
			MX8MP_IOMUXC_SD2_DATA2__USDHC2_DATA2	0x1d6
			MX8MP_IOMUXC_SD2_DATA3__USDHC2_DATA3	0x1d6
			MX8MP_IOMUXC_GPIO1_IO04__USDHC2_VSELECT 0xc1
		>;
	};

	pinctrl_usdhc3: usdhc3grp {
		fsl,pins = <
			MX8MP_IOMUXC_NAND_WE_B__USDHC3_CLK	0x190
			MX8MP_IOMUXC_NAND_WP_B__USDHC3_CMD	0x1d0
			MX8MP_IOMUXC_NAND_DATA04__USDHC3_DATA0	0x1d0
			MX8MP_IOMUXC_NAND_DATA05__USDHC3_DATA1	0x1d0
			MX8MP_IOMUXC_NAND_DATA06__USDHC3_DATA2	0x1d0
			MX8MP_IOMUXC_NAND_DATA07__USDHC3_DATA3	0x1d0
			MX8MP_IOMUXC_NAND_RE_B__USDHC3_DATA4	0x1d0
			MX8MP_IOMUXC_NAND_CE2_B__USDHC3_DATA5	0x1d0
			MX8MP_IOMUXC_NAND_CE3_B__USDHC3_DATA6	0x1d0
			MX8MP_IOMUXC_NAND_CLE__USDHC3_DATA7	0x1d0
			MX8MP_IOMUXC_NAND_CE1_B__USDHC3_STROBE	0x190
		>;
	};

	pinctrl_usdhc3_100mhz: usdhc3grp-100mhz {
		fsl,pins = <
			MX8MP_IOMUXC_NAND_WE_B__USDHC3_CLK	0x194
			MX8MP_IOMUXC_NAND_WP_B__USDHC3_CMD	0x1d4
			MX8MP_IOMUXC_NAND_DATA04__USDHC3_DATA0	0x1d4
			MX8MP_IOMUXC_NAND_DATA05__USDHC3_DATA1	0x1d4
			MX8MP_IOMUXC_NAND_DATA06__USDHC3_DATA2	0x1d4
			MX8MP_IOMUXC_NAND_DATA07__USDHC3_DATA3	0x1d4
			MX8MP_IOMUXC_NAND_RE_B__USDHC3_DATA4	0x1d4
			MX8MP_IOMUXC_NAND_CE2_B__USDHC3_DATA5	0x1d4
			MX8MP_IOMUXC_NAND_CE3_B__USDHC3_DATA6	0x1d4
			MX8MP_IOMUXC_NAND_CLE__USDHC3_DATA7	0x1d4
			MX8MP_IOMUXC_NAND_CE1_B__USDHC3_STROBE	0x194
		>;
	};

	pinctrl_usdhc3_200mhz: usdhc3grp-200mhz {
		fsl,pins = <
			MX8MP_IOMUXC_NAND_WE_B__USDHC3_CLK	0x196
			MX8MP_IOMUXC_NAND_WP_B__USDHC3_CMD	0x1d6
			MX8MP_IOMUXC_NAND_DATA04__USDHC3_DATA0	0x1d6
			MX8MP_IOMUXC_NAND_DATA05__USDHC3_DATA1	0x1d6
			MX8MP_IOMUXC_NAND_DATA06__USDHC3_DATA2	0x1d6
			MX8MP_IOMUXC_NAND_DATA07__USDHC3_DATA3	0x1d6
			MX8MP_IOMUXC_NAND_RE_B__USDHC3_DATA4	0x1d6
			MX8MP_IOMUXC_NAND_CE2_B__USDHC3_DATA5	0x1d6
			MX8MP_IOMUXC_NAND_CE3_B__USDHC3_DATA6	0x1d6
			MX8MP_IOMUXC_NAND_CLE__USDHC3_DATA7	0x1d6
			MX8MP_IOMUXC_NAND_CE1_B__USDHC3_STROBE	0x196
		>;
	};

	pinctrl_wdog: wdoggrp {
		fsl,pins = <
			MX8MP_IOMUXC_GPIO1_IO02__WDOG1_WDOG_B	0xc6
		>;
	};

	pinctrl_csi0_pwn: csi0_pwn_grp {
		fsl,pins = <
			MX8MP_IOMUXC_SD1_STROBE__GPIO2_IO11	0x19
		>;
	};

	pinctrl_csi0_rst: csi0_rst_grp {
		fsl,pins = <
			MX8MP_IOMUXC_GPIO1_IO06__GPIO1_IO06		0x19
		>;
	};

	pinctrl_csi_mclk: csi_mclk_grp {
		fsl,pins = <
			MX8MP_IOMUXC_GPIO1_IO14__CCM_CLKO1	0x59
		>;
	};
};

&vpu_g1 {
	status = "okay";
};

&vpu_g2 {
	status = "okay";
};

&vpu_vc8000e {
	status = "okay";
};

&gpu_3d {
	status = "okay";
};

&gpu_2d {
	status = "okay";
};

&ml_vipsi {
	status = "okay";
};

&mix_gpu_ml {
	status = "okay";
};

&mipi_csi_0 {
	#address-cells = <1>;
	#size-cells = <0>;
	status = "okay";

	/* Camera 2  MIPI CSI-2 (CSIS0) */
	port@0 {
		reg = <0>;
		mipi_csi0_ep: endpoint {
			remote-endpoint = <&ov5645_mipi_0_ep>;
			data-lanes = <4>;
			clock-lanes = <0>;
			csis-hs-settle = <13>;
			csis-clk-settle = <2>;
			csis-wclk;
		};
	};
};


&mipi_csi_1 {
	#address-cells = <1>;
	#size-cells = <0>;
	status = "okay";

	/* Camera 1  MIPI CSI-2 (CSIS1) */
	port@1 {
		reg = <1>;
		mipi_csi1_ep: endpoint {
			remote-endpoint = <&ov5645_mipi_1_ep>;
			data-lanes = <2>;
			clock-lanes = <0>;
			csis-hs-settle = <13>;
			csis-clk-settle = <2>;
			csis-wclk;
		};
	};
};

&cameradev {
	status = "okay";
};

&isi_0 {
	status = "okay";

	cap_device {
		status = "okay";
	};

	m2m_device {
		status = "okay";
	};
};

&isi_1 {
	status = "disabled";

	cap_device {
		status = "okay";
	};
};

&dsp {
	status = "okay";
};
